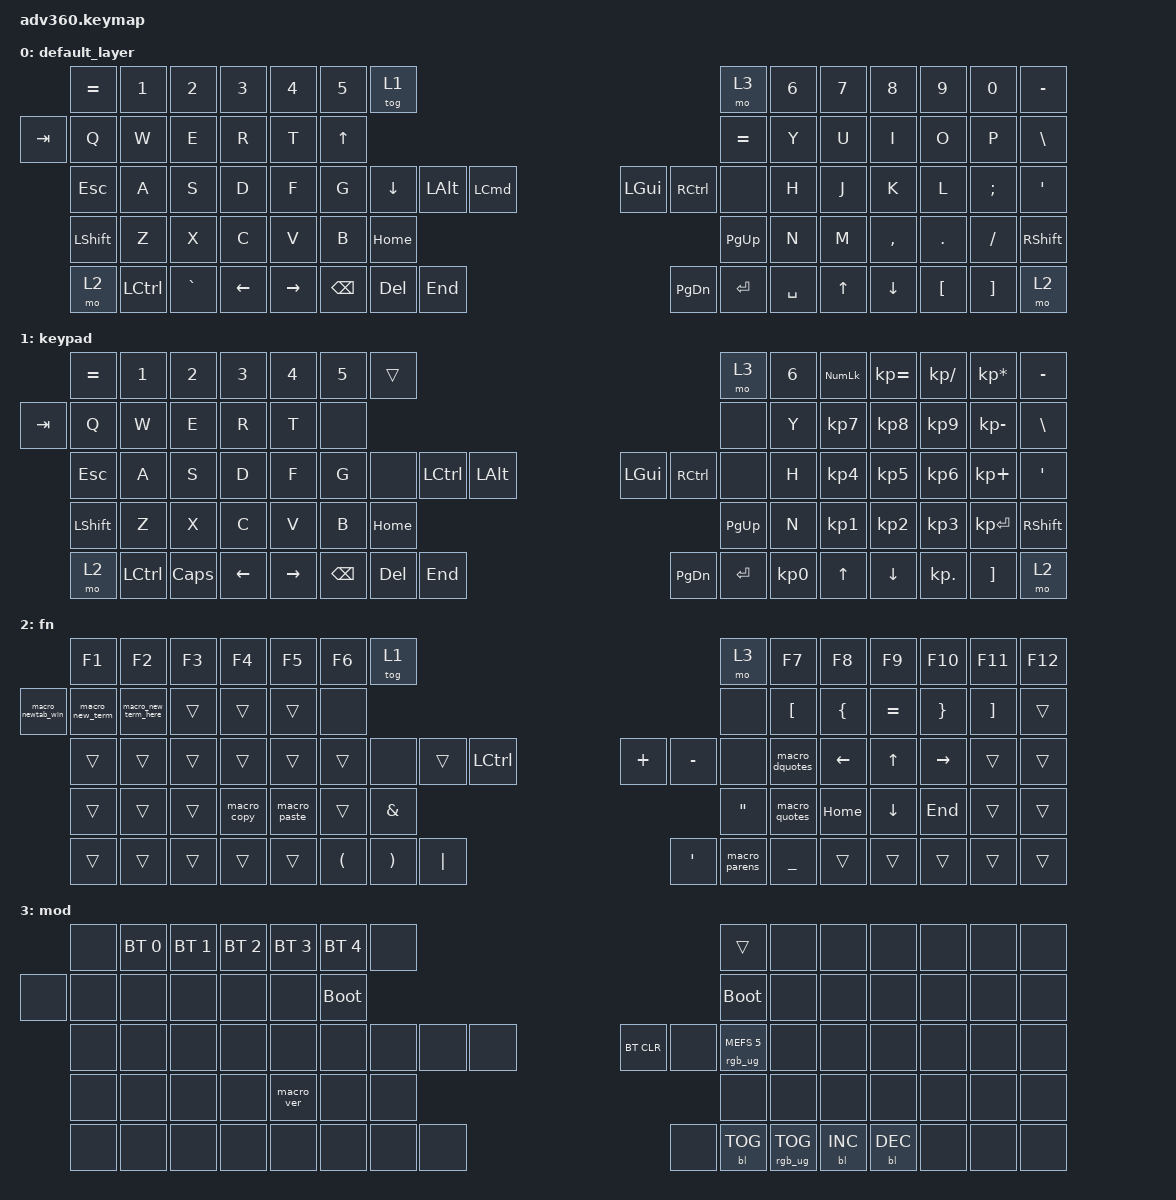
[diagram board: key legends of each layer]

/*
 * Copyright (c) 2020 The ZMK Contributors
 *
 * SPDX-License-Identifier: MIT
 */


/* THIS FILE WAS GENERATED!
 *
 * This file was generated automatically. You may or may not want to
 * edit it directly.
 */

#include <behaviors.dtsi>
#include <dt-bindings/zmk/keys.h>
#include <dt-bindings/zmk/bt.h>
#include <dt-bindings/zmk/rgb.h>
#include <dt-bindings/zmk/backlight.h>

/ {
    behaviors {
      #include "macros.dtsi"
      #include "version.dtsi"
      #ifndef VERSION_MACRO
      macro_ver: macro_ver {
        compatible = "zmk,behavior-macro";
        label = "macro_version";
        #binding-cells = <0>;
        bindings = <&kp RET>;
      };
      #endif

      hm: homerow_mods {
          compatible = "zmk,behavior-hold-tap";
          label = "HOMEROW_MODS";
          #binding-cells = <2>;
          tapping-term-ms = <200>;
          quick_tap_ms = <175>;
          flavor = "tap-preferred";
          bindings = <&kp>, <&kp>;
      };
    };

    keymap {
        compatible = "zmk,keymap";


        default_layer {
            bindings = <
 &kp EQUAL     &kp N1     &kp N2    &kp N3     &kp N4  &kp N5              &tog 1                                                                    &mo 3  &kp N6  &kp N7     &kp N8    &kp N9    &kp N0  &kp MINUS
   &kp TAB      &kp Q      &kp W     &kp E      &kp R   &kp T              &kp UP                                                                &kp EQUAL   &kp Y   &kp U      &kp I     &kp O     &kp P   &kp BSLH
   &kp ESC      &kp A      &kp S     &kp D      &kp F   &kp G            &kp DOWN  &kp LEFT_ALT  &kp LCMD                   &kp LGUI  &kp RCTRL      &none   &kp H   &kp J      &kp K     &kp L  &kp SEMI    &kp SQT
 &kp LSHFT      &kp Z      &kp X     &kp C      &kp V   &kp B                                    &kp HOME                  &kp PG_UP                         &kp N   &kp M  &kp COMMA   &kp DOT  &kp FSLH  &kp RSHFT
     &mo 2  &kp LCTRL  &kp GRAVE  &kp LEFT  &kp RIGHT                    &kp BSPC       &kp DEL   &kp END                  &kp PG_DN  &kp ENTER  &kp SPACE          &kp UP   &kp DOWN  &kp LBKT  &kp RBKT      &mo 2
            >;
        };
        keypad {
            bindings = <
 &kp EQUAL     &kp N1    &kp N2    &kp N3     &kp N4  &kp N5              &trans                                                                 &mo 3  &kp N6  &kp KP_NUM  &kp KP_EQUAL  &kp KP_DIVIDE  &kp KP_MULTIPLY  &kp MINUS
   &kp TAB      &kp Q     &kp W     &kp E      &kp R   &kp T               &none                                                                 &none   &kp Y   &kp KP_N7     &kp KP_N8      &kp KP_N9     &kp KP_MINUS   &kp BSLH
   &kp ESC      &kp A     &kp S     &kp D      &kp F   &kp G               &none  &kp LCTRL  &kp LALT                   &kp LGUI  &kp RCTRL      &none   &kp H   &kp KP_N4     &kp KP_N5      &kp KP_N6      &kp KP_PLUS    &kp SQT
 &kp LSHFT      &kp Z     &kp X     &kp C      &kp V   &kp B                                 &kp HOME                  &kp PG_UP                         &kp N   &kp KP_N1     &kp KP_N2      &kp KP_N3     &kp KP_ENTER  &kp RSHFT
     &mo 2  &kp LCTRL  &kp CAPS  &kp LEFT  &kp RIGHT                    &kp BSPC    &kp DEL   &kp END                  &kp PG_DN  &kp ENTER  &kp KP_N0              &kp UP      &kp DOWN     &kp KP_DOT         &kp RBKT      &mo 2
            >;
        };
        fn {
            bindings = <
            &kp F1           &kp F2                &kp F3       &kp F4        &kp F5  &kp F6                          &tog 1                                                                                                   &mo 3          &kp F7    &kp F8     &kp F9    &kp F10   &kp F11  &kp F12
 &macro_newtab_win  &macro_new_term  &macro_new_term_here       &trans        &trans  &trans                           &none                                                                                                   &none        &kp LBKT  &kp LBRC  &kp EQUAL   &kp RBRC  &kp RBKT   &trans
            &trans           &trans                &trans       &trans        &trans  &trans                           &none                 &trans      &kp LCTRL                           &kp PLUS      &kp MINUS           &none  &macro_dquotes  &kp LEFT     &kp UP  &kp RIGHT    &trans   &trans
            &trans           &trans                &trans  &macro_copy  &macro_paste  &trans                                                         &kp AMPERSAND                  &kp DOUBLE_QUOTES                                  &macro_quotes  &kp HOME   &kp DOWN    &kp END    &trans   &trans
            &trans           &trans                &trans       &trans        &trans                    &kp LEFT_PARENTHESIS  &kp RIGHT_PARENTHESIS       &kp PIPE                   &kp SINGLE_QUOTE  &macro_parens  &kp UNDERSCORE                    &trans     &trans     &trans    &trans   &trans
            >;
        };
        mod {
          bindings = <
            &none &bt BT_SEL 0 &bt BT_SEL 1 &bt BT_SEL 2 &bt BT_SEL 3 &bt BT_SEL 4 &none                                                                     &trans                 &none        &none        &none        &none &none &none
            &none &none        &none        &none        &none        &none        &bootloader                                                               &bootloader            &none        &none        &none        &none &none &none
            &none &none        &none        &none        &none        &none        &none                   &none &none &bt BT_CLR &none                      &rgb_ug RGB_MEFS_CMD 5 &none        &none        &none        &none &none &none
            &none &none        &none        &none        &macro_ver   &none                                      &none &none                                                        &none        &none        &none        &none &none &none
            &none &none        &none        &none        &none                                       &none &none &none &none      &bl BL_TOG &rgb_ug RGB_TOG                                     &bl BL_INC   &bl BL_DEC   &none &none &none
          >;
        };
    };
};
